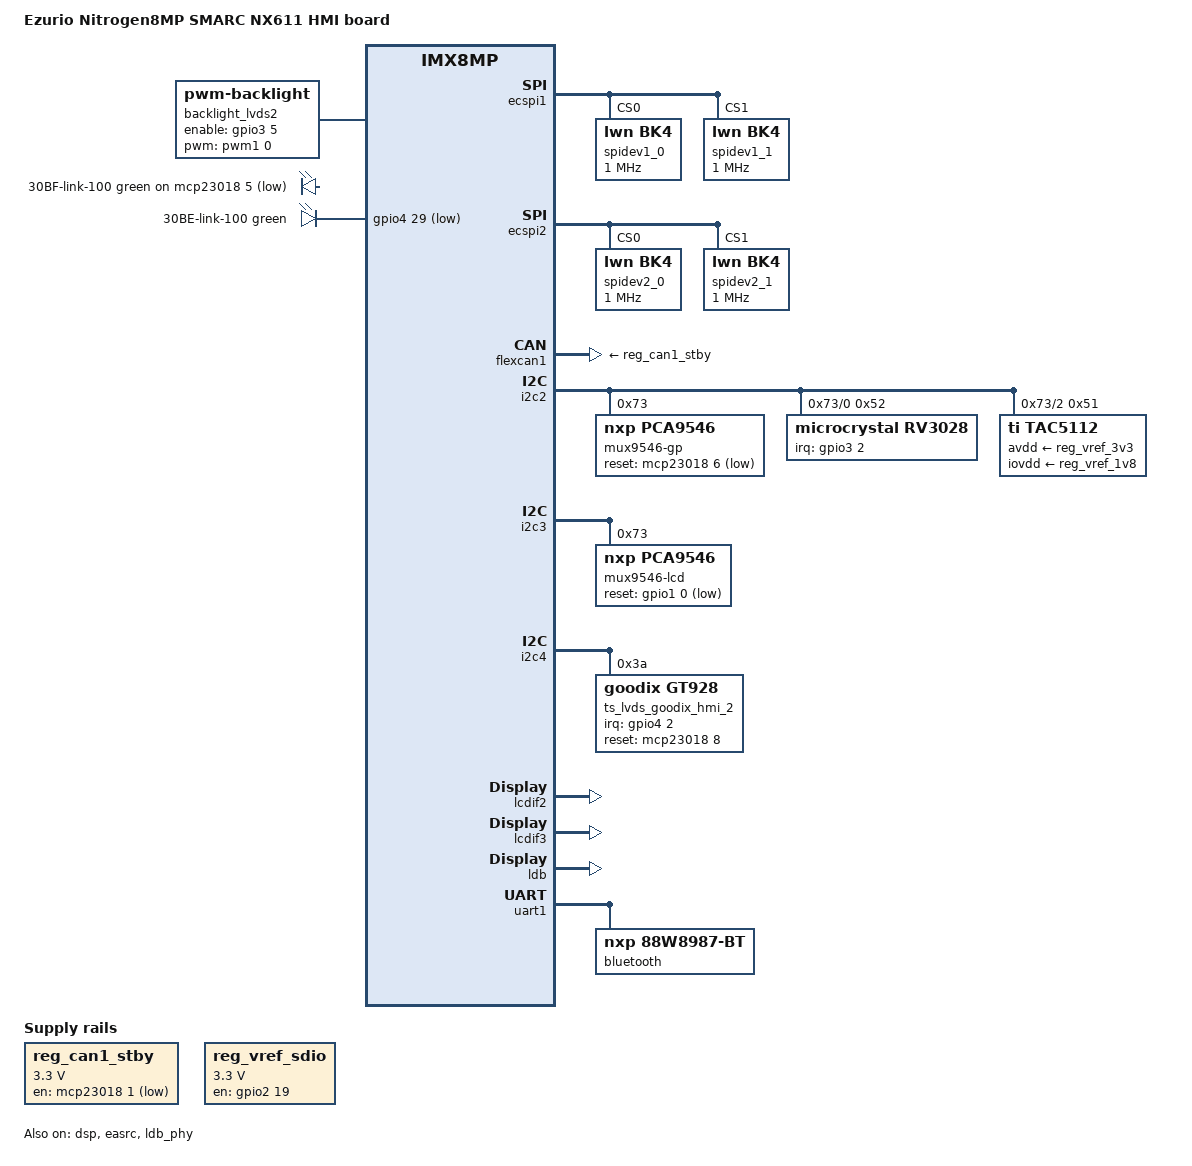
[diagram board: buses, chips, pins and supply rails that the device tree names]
// SPDX-License-Identifier: (GPL-2.0+ OR MIT)
/*
 * Copyright 2025 Ezurio LLC
 */

/dts-v1/;

#include <dt-bindings/usb/pd.h>
#include <dt-bindings/leds/common.h>
#include "imx8mp-nitrogen_smarc-som.dtsi"

#include "../panel-m101nwwb.dtsi"

/ {
	model = "Ezurio Nitrogen8MP SMARC NX611 HMI board";
	compatible = "ezurio,imx8mp-nitrogen_smarc-hmi", "fsl,imx8mp";

	aliases {
		backlight_lvds2 = &backlight_lvds2;
		backlight_lvds = &backlight_lvds;
		backlight_mipi = &backlight_mipi;
		ethernet0 = &eqos;
		ethernet1 = &fec;
		fb_hdmi = &lcdif3;
		fb_lvds2 = &lcdif2;
		fb_lvds = &lcdif2;
		lcdif = &lcdif1;
		ldb_chan2 = &ldb_chan2;
		ldb_chan = &ldb_chan;
		ldb = &ldb;
		pcie-phy = &pcie_phy;
		pwm_lvds2 = &pwm1;
		pwm_lvds = &pwm2;
		rtc0 = &rv3028;
		rtc1 = &snvs_rtc;
		sound_hdmi= &sound_hdmi;
	};

	backlight_lvds: backlight-lvds {
		brightness-levels = <0 1 2 3 4 5 6 7 8 9 10>;
		compatible = "pwm-backlight";
		display = <&lcdif2>;
		default-brightness-level = <8>;
		enable-gpios = <&gpio3 15 GPIO_ACTIVE_HIGH>;
		pinctrl-names = "default";
		pinctrl-0 = <&pinctrl_backlight_lvds>;
		pwms = <&pwm2 0 100000 0>;
		status = "disabled";
	};

	backlight_lvds2: backlight-lvds2 {
		brightness-levels = <0 1 2 3 4 5 6 7 8 9 10>;
		compatible = "pwm-backlight";
		display = <&lcdif2>;
		default-brightness-level = <8>;
		enable-gpios = <&gpio3 5 GPIO_ACTIVE_HIGH>;
		pinctrl-names = "default";
		pinctrl-0 = <&pinctrl_backlight_lvds2>;
		pwms = <&pwm1 0 100000 0>;
		status = "okay";
	};

	backlight_mipi: backlight-mipi {
		brightness-levels = <0 1 2 3 4 5 6 7 8 9 10>;
		compatible = "pwm-backlight";
		default-brightness-level = <8>;
		display = <&backlight_mipi>;
		pwms = <&pwm2 0 30000 0>;
		status = "disabled";
	};

	chosen {
		stdout-path = &uart2;
	};

	led-controller {
		compatible = "gpio-leds";
		pinctrl-names = "default";
		pinctrl-0 = <&pinctrl_leds>;

		led-0 {
			label = "30BF-link-100";
			function = LED_FUNCTION_STATUS;
			color = <LED_COLOR_ID_GREEN>;
			gpios = <&mcp23018 5 GPIO_ACTIVE_LOW>;
			default-state = "off";
			linux,default-trigger = "stmmac-0:07:100Mbps";
		};

		led-1 {
			label = "30BE-link-100";
			function = LED_FUNCTION_STATUS;
			color = <LED_COLOR_ID_GREEN>;
			gpios = <&gpio4 29 GPIO_ACTIVE_LOW>;
			default-state = "off";
			linux,default-trigger = "30be0000.ethernet-1:07:100Mbps";
		};
	};

	reg_can1_stby: regulator-can1-stby {
		compatible = "regulator-fixed";
		regulator-name = "can1-stby";
		regulator-min-microvolt = <3300000>;
		regulator-max-microvolt = <3300000>;
		gpio = <&mcp23018 1 GPIO_ACTIVE_HIGH>;
	};

	reg_vref_sdio: regulator-vref-sdio {
		compatible = "regulator-fixed-clock";
		clocks = <&rv3028>;
		regulator-name = "vref-sdio-3v3";
		regulator-min-microvolt = <3300000>;
		regulator-max-microvolt = <3300000>;
		gpio = <&gpio2 19 GPIO_ACTIVE_HIGH>;
		enable-active-high;
	};

	codec_audio: sound {
		compatible = "simple-audio-card";
		simple-audio-card,bitclock-master = <&codec_dai>;
		simple-audio-card,format = "i2s";
		simple-audio-card,frame-master = <&codec_dai>;
		simple-audio-card,mclk-fs = <256>;
		simple-audio-card,name = "tac5112";

		simple-audio-card,widgets =
			"Headphone", "Headphone Jack",
			"Line",      "Line In",
			"Line",      "Line Out";

		simple-audio-card,routing =
			"Headphone Jack", "OUT1",
			"Headphone Jack", "OUT2",
			"AIN1", "Line In",
			"AIN2", "Line In",
			"Line Out", "OUT1",
			"Line Out", "OUT2";

		simple-audio-card,codec {
			clocks = <&audio_blk_ctrl IMX8MP_CLK_AUDIOMIX_SAI3_MCLK1>;
			sound-dai = <&tac5112>;
		};

		codec_dai: simple-audio-card,cpu {
			sound-dai = <&sai3>;
			bitclock-master;
			frame-master;
			system-clock-direction-out;
		};
	};
};

&dsp {
	status = "okay";
};

&easrc {
	fsl,asrc-rate  = <48000>;
	status = "okay";
};

&ecspi1 {
	status = "okay";

	spidev1_0: spi@0 {
		reg = <0>;
		compatible = "lwn,bk4";
		spi-max-frequency = <1000000>;
	};

	spidev1_1: spi@1 {
		reg = <1>;
		compatible = "lwn,bk4";
		spi-max-frequency = <1000000>;
	};
};

&ecspi2 {
	status = "okay";

	spidev2_0: spi@0 {
		reg = <0>;
		compatible = "lwn,bk4";
		spi-max-frequency = <1000000>;
	};

	spidev2_1: spi@1 {
		reg = <1>;
		compatible = "lwn,bk4";
		spi-max-frequency = <1000000>;
	};
};

/* Only 1 CAN on HMI */
&flexcan1 {
	xceiver-supply = <&reg_can1_stby>;
	status = "okay";
};

&gpio2 {
	gpio-line-names = "", "", "", "",	/* 0 - 3 */
		"", "", "", "",			/* 4 - 7 */
		"", "", "", "",			/* 8 - 11 */
		"", "", "", "",			/* 12 - 15 */
		"", "", "", "",			/* 16 - 19 */
		"SDIO_WP", "", "", "",		/* 20 - 23 */
		"", "", "", "",			/* 24 - 27 */
		"", "", "", "";			/* 28 - 31 */
};

&gpio3 {
	gpio-line-names = "", "", "RV3028_INT", "", /* 0 - 3 */
		"", "", "", "",			/* 4 - 7 */
		"", "", "", "",			/* 8 - 11 */
		"", "", "", "",			/* 12 - 15 */
		"", "", "", "",			/* 16 - 19 */
		"", "", "", "",			/* 20 - 23 */
		"", "", "", "",			/* 24 - 27 */
		"", "", "", "";			/* 28 - 31 */
};

&gpio4 {
	gpio-line-names = "", "", "", "",			/* 0 - 3 */
		"", "", "", "",					/* 4 - 7 */
		"", "", "", "",					/* 8 - 11 */
		"", "", "", "",					/* 12 - 15 */
		"", "", "", "",					/* 16 - 19 */
		"SPI1_CS1", "", "", "I2S2_DIN",			/* 20 - 23 */
		"I2S2_LR_CLK", "I2S2_B_CK", "I2S_DOUT", "",	/* 24 - 27 */
		"", "GBE1_LINKED_100", "", "";			/* 28 - 31 */
};

&gpio5 {
	gpio-line-names = "", "", "", "",	/* 0 - 3 */
		"", "", "", "",			/* 4 - 7 */
		"", "SPI0_CS0", "", "",		/* 8 - 11 */
		"", "SPI1_CS0", "", "",		/* 12 - 15 */
		"", "", "", "",			/* 16 - 19 */
		"", "", "", "",			/* 20 - 23 */
		"", "", "", "",			/* 24 - 27 */
		"", "", "", "";			/* 28 - 31 */
};

/* I2C_GP */
&i2c2 {
	mux9546-gp@73 {
		compatible = "nxp,pca9546";
		reg = <0x73>;
		reset-gpios = <&mcp23018 6 (GPIO_ACTIVE_LOW | GPIO_PULL_UP)>;
		#address-cells = <1>;
		#size-cells = <0>;

		i2c_gp_a: i2c2@0 { /* RTC */
			clock-frequency = <100000>;
			reg = <0>;
			#address-cells = <1>;
			#size-cells = <0>;
		};

		i2c_gp_b: i2c2@1 { /* J18 */
			clock-frequency = <100000>;
			reg = <1>;
			#address-cells = <1>;
			#size-cells = <0>;
		};

		i2c_gp_c: i2c2@2 { /* AUDIO I2C */
			clock-frequency = <100000>;
			reg = <2>;
			#address-cells = <1>;
			#size-cells = <0>;
		};

		i2c_gp_d: i2c2@3 { /* PCIE I2C */
			clock-frequency = <100000>;
			reg = <3>;
			#address-cells = <1>;
			#size-cells = <0>;
		};
	};
};

/* I2C_LCD */
&i2c3 {
	mux9546-lcd@73 {
		compatible = "nxp,pca9546";
		pinctrl-names = "default";
		pinctrl-0 = <&pinctrl_mux9546_lcd>;
		reg = <0x73>;
		reset-gpios = <&gpio1 0 GPIO_ACTIVE_LOW>;

		#address-cells = <1>;
		#size-cells = <0>;

		i2c_lcd_a: i2c3@0 {
			/* EDP0 */
			clock-frequency = <100000>;
			reg = <0>;
			#address-cells = <1>;
			#size-cells = <0>;
		};

		i2c_lcd_b: i2c3@1 {
			/* EDP1 */
			clock-frequency = <100000>;
			reg = <1>;
			#address-cells = <1>;
			#size-cells = <0>;
		};

		i2c_lcd_c: i2c3@2 {
			/* DSI0 */
			clock-frequency = <100000>;
			reg = <2>;
			#address-cells = <1>;
			#size-cells = <0>;
		};

		i2c_lcd_d: i2c3@3 {
			/* DSI1 */
			clock-frequency = <100000>;
			reg = <3>;
			#address-cells = <1>;
			#size-cells = <0>;
		};
	};
};

/* I2C_PM */
&i2c4 {
	ts_lvds_goodix_hmi_2: touchscreen@3a { // TODO
		   compatible = "goodix,gt928";
		   esd-recovery-timeout-ms = <2000>;
		   interrupts-extended = <&gpio4 2 IRQ_TYPE_LEVEL_HIGH>;
		   irq-gpios = <&gpio4 2 GPIO_ACTIVE_HIGH>;
		   pinctrl-names = "default";
		   pinctrl-0 = <&pinctrl_ts_lvds_goodix>;
		   reg = <0x3a>;
		   reset-gpios = <&mcp23018 8 (GPIO_OPEN_DRAIN | GPIO_PULL_UP)>;
		   status = "okay";
	};
};

&i2c_gp_a {
	rv3028: rtc@52 {
		pinctrl-names = "default";
		pinctrl-0 = <&pinctrl_rv3028>;
		backup-switchover-dsm;
		#clock-cells = <0>;
		compatible = "microcrystal,rv3028";
		reg = <0x52>;
		interrupts-extended = <&gpio3 2 IRQ_TYPE_LEVEL_LOW>;
		wakeup-source;
	};
};

&i2c_gp_c {
	tac5112: audio-codec@51 {
		/* U1, TI, XTAC5112IRGER */
		#sound-dai-cells = <0>;
		compatible = "ti,tac5112";
		reg = <0x51>;

		clocks = <&audio_blk_ctrl IMX8MP_CLK_AUDIOMIX_SAI3_MCLK1>;
		clock-names = "mclk";

		ti,vref = <0>;  /* 2.75V */
		ti,micbias-vg = <0>; /* same as Vref */
		ti,gpios-func = <0>, <1>, <0>; /* Input for GPIO2 (MIC_DETECT) */
		ti,gpi1-func = <1>; /* Input for GPI1 (HP_DET) */

		ti,gpios-drive = <0>, <0>, <1>; /* GPO1 Drive active low and active High */

		ti,gpa-gpio = <0>; /* GPA using GPIO1 is disabled */
		ti,gpa-threshold = <75>, <186>; /* GPA Low and High threshold Values */

		avdd-supply = <&reg_vref_3v3>;
		iovdd-supply = <&reg_vref_1v8>;
	};
};


&iomuxc {
        pinctrl-names = "default";
        pinctrl-0 = <&pinctrl_hog>, <&pinctrl_hog2>;

	pinctrl_backlight_lvds: backlight-lvdsgrp {
		fsl,pins = <
			MX8MP_IOMUXC_NAND_RE_B__GPIO3_IO15	0x100
		>;
	};

	pinctrl_backlight_lvds2: backlight-lvds2grp {
		fsl,pins = <
			MX8MP_IOMUXC_NAND_CLE__GPIO3_IO05	0x100
		>;
	};

	pinctrl_hog: hoggrp {
		fsl,pins = <
			MX8MP_IOMUXC_GPIO1_IO11__GPIO1_IO11	0x140
			MX8MP_IOMUXC_GPIO1_IO08__GPIO1_IO08	0x140
			MX8MP_IOMUXC_SAI1_TXD7__GPIO4_IO19	0x140
			MX8MP_IOMUXC_GPIO1_IO10__GPIO1_IO10	0x140
			MX8MP_IOMUXC_SPDIF_TX__GPIO5_IO03	0x140
		>;
	};

	pinctrl_hog2: hoggrp {
		fsl,pins = <
			MX8MP_IOMUXC_SD2_WP__GPIO2_IO20		0x100 /* SDIO_WP */
			MX8MP_IOMUXC_SAI2_TXFS__GPIO4_IO24	0x100 /* I2S2_LR_CLK */
			MX8MP_IOMUXC_SAI2_TXC__GPIO4_IO25	0x100 /* I2S2_B_CK */
			MX8MP_IOMUXC_SAI2_RXD0__GPIO4_IO23	0x100 /* I2S2_DIN */
			MX8MP_IOMUXC_SAI2_TXD0__GPIO4_IO26	0x100 /* I2S_DOUT */
		>;
	};

	pinctrl_leds: ledsgrp {
		fsl,pins = <
			MX8MP_IOMUXC_SAI3_RXC__GPIO4_IO29	0x100
		>;
	};

	pinctrl_mux9546_lcd: mux9546-lcdgrp {
		fsl,pins = <
			MX8MP_IOMUXC_GPIO1_IO00__GPIO1_IO00	0x140
		>;
	};

	pinctrl_rv3028: rv3028grp {
		fsl,pins = <
			MX8MP_IOMUXC_NAND_CE1_B__GPIO3_IO02	0x140
		>;
	};

	pinctrl_ts_lvds_goodix: ts-lvds-godixgrp {
		fsl,pins = <
			MX8MP_IOMUXC_SAI1_RXD0__GPIO4_IO02	0x1c0
		>;
	};
};

&lcdif2 { /* fb_lvds */
	interface_pix_fmt = "RGB24";
	status = "okay";
};

&lcdif3 { /* fb_hdmi */
	status = "okay";
};

&ldb {
	status = "okay";

	lvds-channel@0 {  /* TODO LVDS0 */
		status = "disabled";
	};

	lvds-channel@1 { /* LVDS1 */
		primary;
		backlight = <&backlight_lvds2>;
		fsl,data-mapping = "spwg";
		fsl,data-width = <24>;
		status = "okay";

		/* 10.1" HMI display timings here */
		display-timings {
			t_lvds2: t_lvds_default {
				clock-frequency = <74250000>;
				hactive = <1280>;
				vactive = <800>;
				hback-porch = <88>;
				hfront-porch = <72>;
				vback-porch = <23>;
				vfront-porch = <15>;
				hsync-len = <20>;
				vsync-len = <10>;
				de-active = <1>;
			};
		};
	};
};

&ldb_phy {
	status = "okay";
};

&mcp23018 {
	gpio-line-names = "GPIO_00", "CAN_SILENT", "GPIO_02", "GPIO_03", /* 0 - 3 */
		"GPIO_HP_DET", "LINKED_100", "I2C_HUB_RESET","",   /* 4 - 7 */
		"", "", "GPIO_09", "SPK_MUTE#",			   /* 8 - 11 */
		"", "", "", "";					   /* 12 - 15 */
};

&mipi_dsi {
	status = "disabled";
};

&sai3 {
	#sound-dai-cells = <0>;
	assigned-clocks = <&clk IMX8MP_CLK_SAI3>;
	assigned-clock-parents = <&clk IMX8MP_AUDIO_PLL2_OUT>; /* Needed for a 49152000 clock */
};

&uart1 {
	bluetooth {
		compatible = "nxp,88w8987-bt";
		fw-init-baudrate = <3000000>;
	};
};

#if 0 /* for M.2 usage only */
&usdhc2 {
	vmmc-supply = <&reg_vref_sdio>;
};
#endif

&usdhc3 { /* WiFi / Bluetooth */
	max-frequency = <50000000>;
	cap-power-off-card;

};
